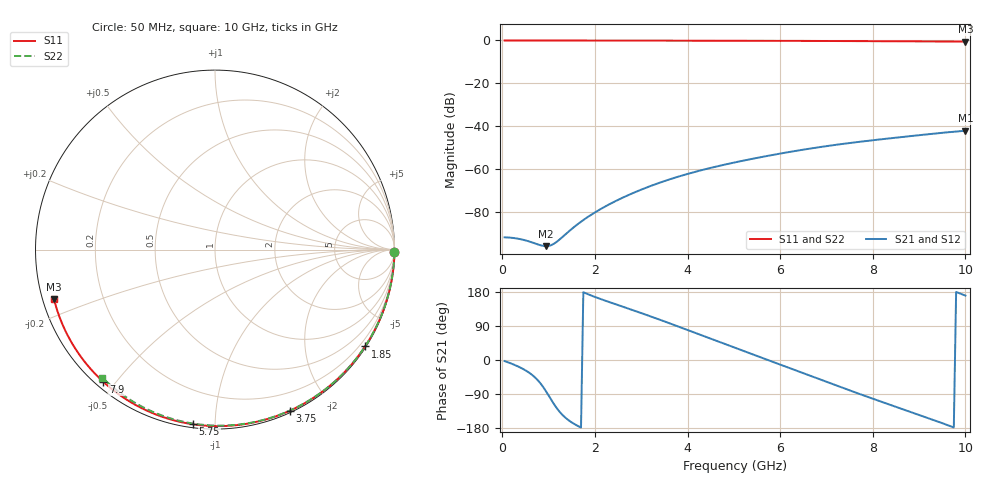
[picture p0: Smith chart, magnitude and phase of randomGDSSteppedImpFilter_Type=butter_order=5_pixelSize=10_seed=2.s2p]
! freq	dB(S11)	phase(S11)	dB(S12)	phase(S12)
!  dB(S21)	phase(S21)	dB(S22)	phase(S22)
!S-par simulation data
#  GHz  S  DB  R 50
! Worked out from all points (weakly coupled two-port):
!   200 points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, 50 MHz to 10 GHz, reference 50 ohm
!   highest |S21| = -42.12 dB at 10 GHz (marker M1); lowest = -95.9 dB at 950 MHz (marker M2)
!   lowest |S11| = -0.6 dB at 10 GHz (marker M3), VSWR 31.52, Z = 1.62 - j7.47 ohm
!   |S11| at or under -10 dB: nowhere
!   |S22| runs from -0.4 to 0.0 dB; largest |S21 - S12| = 0
!   S11 on the Smith chart (normalised r, x): 50 MHz: open; 1.85 GHz: 0.03, -3.39; 3.75 GHz: 0.02, -1.57; 5.75 GHz: 0.02, -0.88; 7.9 GHz: 0.02, -0.46; 10 GHz: 0.03, -0.15
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0.05  -0.00 -0.9  -91.79 -2.9  -91.79 -2.9  -0.00 -0.7
0.5  -0.01 -9.0  -93.22 -27.2  -93.22 -27.2  -0.01 -7.4
0.95  -0.02 -17.0  -95.92 -83.7  -95.92 -83.7  -0.02 -13.9
1.35  -0.03 -24.1  -90.68 -150.8  -90.68 -150.8  -0.02 -19.7
1.75  -0.04 -31.1  -83.73 178.9  -83.73 178.9  -0.03 -25.4
1.85  -0.04 -32.8  -82.25 173.6  -82.25 173.6  -0.03 -26.9
2  -0.05 -35.4  -80.19 166.4  -80.19 166.4  -0.04 -29.0
2.4  -0.05 -42.4  -75.40 149.1  -75.40 149.1  -0.04 -34.7
2.7  -0.06 -47.5  -72.31 136.6  -72.31 136.6  -0.05 -38.9
3.05  -0.07 -53.4  -69.13 121.7  -69.13 121.7  -0.06 -43.8
3.4  -0.08 -59.3  -66.32 106.4  -66.32 106.4  -0.06 -48.6
3.75  -0.09 -65.1  -63.84 90.6  -63.84 90.6  -0.07 -53.4
4.35  -0.11 -74.9  -60.22 63.1  -60.22 63.1  -0.09 -61.5
5.05  -0.13 -86.1  -56.73 31.1  -56.73 31.1  -0.11 -70.7
5.75  -0.17 -97.1  -53.73 -0.7  -53.73 -0.7  -0.13 -79.8
6.2  -0.19 -104.1  -51.99 -21.2  -51.99 -21.2  -0.15 -85.5
6.7  -0.22 -111.8  -50.23 -44.1  -50.23 -44.1  -0.18 -91.7
7.3  -0.26 -121.0  -48.38 -71.3  -48.38 -71.3  -0.21 -99.1
7.9  -0.31 -130.1  -46.78 -97.8  -46.78 -97.8  -0.25 -106.4
8.35  -0.36 -137.0  -45.68 -117.1  -45.68 -117.1  -0.29 -111.8
9.2  -0.45 -150.2  -43.72 -153.4  -43.72 -153.4  -0.36 -121.9
10  -0.55 -163.0  -42.12 170.0  -42.12 170.0  -0.45 -131.3
